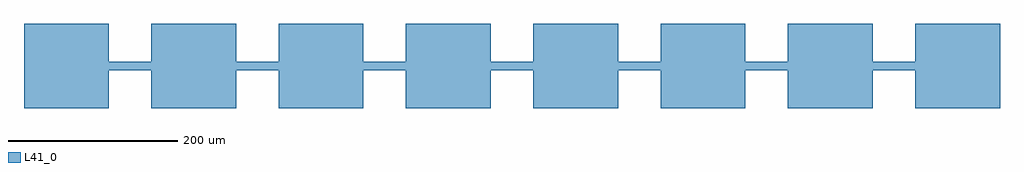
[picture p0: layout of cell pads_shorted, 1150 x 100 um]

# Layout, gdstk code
import gdstk
lib = gdstk.Library(unit=1e-6, precision=1e-09)
def R(c, l, rs):  # rectangles x0, y0, x1, y1
    for r in rs: c.add(gdstk.rectangle(r[:2], r[2:], *l))
L41_0 = (41, 0)

rectangle_centeredtrue__ = lib.new_cell('rectangle_centeredTrue__650e8f37')
R(rectangle_centeredtrue__, L41_0, [(-50,-50,50,50)])

c_rectangle_centeredtrue__ = lib.new_cell('rectangle_centeredTrue__3d0d1e5a')
R(c_rectangle_centeredtrue__, L41_0, [(-525,-5,525,5)])

pads_shorted = lib.new_cell('pads_shorted')
pads_shorted.add(gdstk.Reference(rectangle_centeredtrue__, (-525,0)))
pads_shorted.add(gdstk.Reference(rectangle_centeredtrue__, (-375,0)))
pads_shorted.add(gdstk.Reference(rectangle_centeredtrue__, (-225,0)))
pads_shorted.add(gdstk.Reference(rectangle_centeredtrue__, (-75,0)))
pads_shorted.add(gdstk.Reference(rectangle_centeredtrue__, (75,0)))
pads_shorted.add(gdstk.Reference(rectangle_centeredtrue__, (225,0)))
pads_shorted.add(gdstk.Reference(rectangle_centeredtrue__, (375,0)))
pads_shorted.add(gdstk.Reference(rectangle_centeredtrue__, (525,0)))
pads_shorted.add(gdstk.Reference(c_rectangle_centeredtrue__, (0,0)))

lib.write_gds('pads_shorted.gds')
